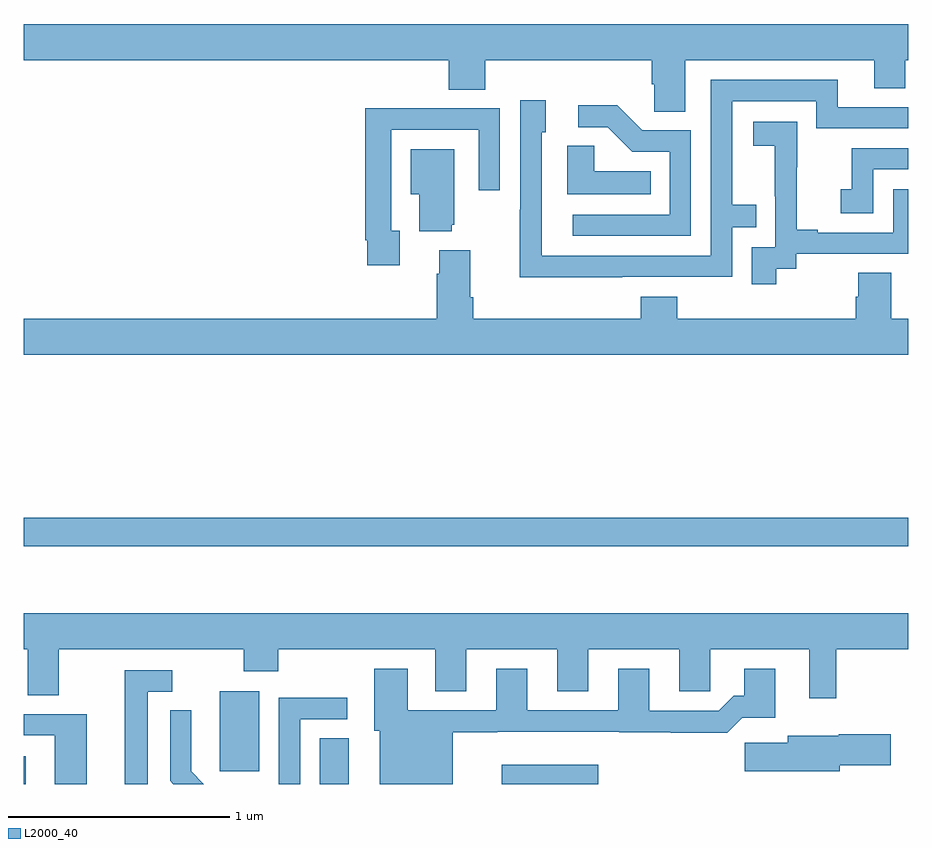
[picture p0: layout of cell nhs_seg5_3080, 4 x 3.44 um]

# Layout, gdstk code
import gdstk
lib = gdstk.Library(unit=1e-6, precision=1e-09)
def R(c, l, rs):  # rectangles x0, y0, x1, y1
    for r in rs: c.add(gdstk.rectangle(r[:2], r[2:], *l))
def P(c, l, *ps):  # polygons
    for p in ps: c.add(gdstk.Polygon(p, *l))
L2000_40 = (2000, 40)

nhs_seg5_3080 = lib.new_cell('nhs_seg5_3080')
R(nhs_seg5_3080, L2000_40, [(289,874.799,289.009,874.924), (290.339,874.799,290.47,875.006), (291.161,874.799,291.598,874.885), (289.886,874.857,290.065,875.218), (289,875.874,293,876.002)])
P(nhs_seg5_3080, L2000_40, [(291.991,878.072),(292.847,878.072),(292.847,877.945),(292.986,877.945),(292.986,878.072),(293,878.072),(293,878.236),(289,878.236),(289,878.072),(290.921,878.072),(290.921,877.939),(291.086,877.939),(291.086,878.072),(291.839,878.072),(291.839,877.963),(291.852,877.963),(291.852,877.84),(291.991,877.84)],
  [(291.707,877.092),(292.203,877.092),(292.203,877.317),(292.313,877.317),(292.313,877.418),(292.203,877.418),(292.203,877.887),(292.584,877.887),(292.584,877.764),(293,877.764),(293,877.86),(292.681,877.86),(292.681,877.983),(292.107,877.983),(292.107,877.188),(291.342,877.188),(291.342,877.746),(291.361,877.746),(291.361,877.891),(291.246,877.891),(291.246,877.397),(291.244,877.397),(291.244,877.091),(291.707,877.091)],
  [(292.017,877.755),(291.798,877.755),(291.685,877.868),(291.507,877.868),(291.507,877.77),(291.641,877.77),(291.752,877.659),(291.921,877.659),(291.921,877.374),(291.483,877.374),(291.483,877.278),(292.017,877.278)],
  [(290.701,877.302),(290.661,877.302),(290.661,877.758),(291.057,877.758),(291.057,877.485),(291.153,877.485),(291.153,877.854),(290.837,877.854),(290.837,877.856),(290.545,877.856),(290.545,877.258),(290.553,877.258),(290.553,877.146),(290.701,877.146)],
  [(292.402,877.129),(292.494,877.129),(292.494,877.197),(293,877.197),(293,877.488),(292.932,877.488),(292.932,877.293),(292.591,877.293),(292.591,877.306),(292.496,877.306),(292.496,877.589),(292.497,877.589),(292.497,877.795),(292.299,877.795),(292.299,877.685),(292.397,877.685),(292.397,877.457),(292.398,877.457),(292.398,877.227),(292.293,877.227),(292.293,877.059),(292.402,877.059)],
  [(291.836,877.57),(291.579,877.57),(291.579,877.685),(291.458,877.685),(291.458,877.466),(291.836,877.466)],
  [(292.842,877.578),(293,877.578),(293,877.674),(292.744,877.674),(292.744,877.489),(292.695,877.489),(292.695,877.38),(292.842,877.38)],
  [(290.936,877.329),(290.947,877.329),(290.947,877.669),(290.75,877.669),(290.75,877.466),(290.789,877.466),(290.789,877.298),(290.936,877.298)],
  [(293,876.904),(292.923,876.904),(292.923,877.112),(292.775,877.112),(292.775,877.002),(292.763,877.002),(292.763,876.904),(291.956,876.904),(291.956,877.003),(291.791,877.003),(291.791,876.904),(291.032,876.904),(291.032,877),(291.019,877),(291.019,877.213),(290.879,877.213),(290.879,877.106),(290.867,877.106),(290.867,876.904),(289,876.904),(289,876.74),(293,876.74)],
  [(292.675,875.408),(293,875.408),(293,875.572),(289,875.572),(289,875.408),(289.019,875.408),(289.019,875.2),(289.159,875.2),(289.159,875.408),(289.996,875.408),(289.996,875.309),(290.151,875.309),(290.151,875.408),(290.861,875.408),(290.861,875.218),(291.001,875.218),(291.001,875.408),(291.413,875.408),(291.413,875.218),(291.553,875.218),(291.553,875.408),(291.965,875.408),(291.965,875.218),(292.104,875.218),(292.104,875.408),(292.553,875.408),(292.553,875.187),(292.675,875.187)],
  [(290.941,875.032),(291.141,875.032),(291.141,875.036),(291.693,875.036),(291.693,875.032),(291.925,875.032),(291.925,875.03),(292.181,875.03),(292.25,875.099),(292.399,875.099),(292.399,875.32),(292.259,875.32),(292.259,875.197),(292.21,875.197),(292.143,875.13),(291.829,875.13),(291.829,875.32),(291.689,875.32),(291.689,875.133),(291.277,875.133),(291.277,875.32),(291.137,875.32),(291.137,875.133),(290.737,875.133),(290.737,875.32),(290.585,875.32),(290.585,875.04),(290.609,875.04),(290.609,874.799),(290.941,874.799)],
  [(289.561,875.217),(289.672,875.217),(289.672,875.313),(289.457,875.313),(289.457,874.799),(289.561,874.799)],
  [(290.25,875.091),(290.464,875.091),(290.464,875.19),(290.154,875.19),(290.154,874.799),(290.25,874.799)],
  [(289.757,874.856),(289.757,874.978),(289.758,874.978),(289.758,875.132),(289.662,875.132),(289.662,874.814),(289.677,874.799),(289.813,874.799)],
  [(289.285,875.115),(289,875.115),(289,875.019),(289.14,875.019),(289.14,874.799),(289.285,874.799)],
  [(292.69,874.883),(292.921,874.883),(292.921,875.025),(292.686,875.025),(292.686,875.017),(292.454,875.017),(292.454,874.985),(292.26,874.985),(292.26,874.856),(292.69,874.856)])

lib.write_gds('nhs_seg5_3080.gds')
